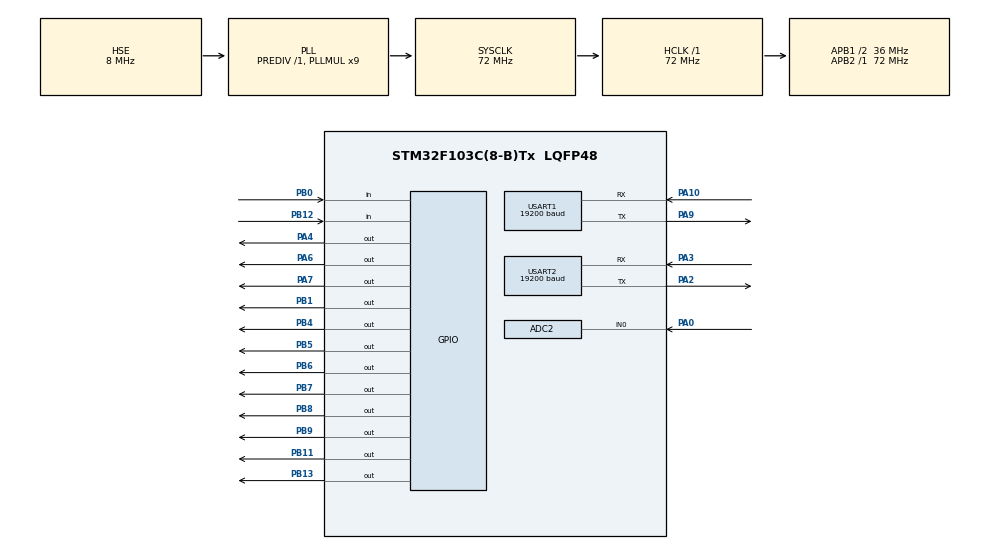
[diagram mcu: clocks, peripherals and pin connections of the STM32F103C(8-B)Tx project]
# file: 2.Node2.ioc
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ADC2.Channel-0\#ChannelRegularConversion=ADC_CHANNEL_0
ADC2.ContinuousConvMode=ENABLE
ADC2.NbrOfConversionFlag=1
ADC2.Rank-0\#ChannelRegularConversion=1
ADC2.SamplingTime-0\#ChannelRegularConversion=ADC_SAMPLETIME_71CYCLES_5
Dma.Request0=USART1_TX
Dma.Request1=USART2_TX
Dma.Request2=USART2_RX
Dma.Request3=USART1_RX
Dma.USART1_RX.3.Direction=DMA_PERIPH_TO_MEMORY
Dma.USART1_RX.3.Instance=DMA1_Channel5
Dma.USART1_RX.3.MemDataAlignment=DMA_MDATAALIGN_BYTE
Dma.USART1_RX.3.MemInc=DMA_MINC_ENABLE
Dma.USART1_RX.3.Mode=DMA_CIRCULAR
Dma.USART1_RX.3.PeriphDataAlignment=DMA_PDATAALIGN_BYTE
Dma.USART1_RX.3.PeriphInc=DMA_PINC_DISABLE
Dma.USART1_RX.3.Priority=DMA_PRIORITY_LOW
Dma.USART1_TX.0.Direction=DMA_MEMORY_TO_PERIPH
Dma.USART1_TX.0.Instance=DMA1_Channel4
Dma.USART1_TX.0.MemDataAlignment=DMA_MDATAALIGN_BYTE
Dma.USART1_TX.0.MemInc=DMA_MINC_ENABLE
Dma.USART1_TX.0.Mode=DMA_NORMAL
Dma.USART1_TX.0.PeriphDataAlignment=DMA_PDATAALIGN_BYTE
Dma.USART1_TX.0.PeriphInc=DMA_PINC_DISABLE
Dma.USART1_TX.0.Priority=DMA_PRIORITY_LOW
Dma.USART2_RX.2.Direction=DMA_PERIPH_TO_MEMORY
Dma.USART2_RX.2.Instance=DMA1_Channel6
Dma.USART2_RX.2.MemDataAlignment=DMA_MDATAALIGN_BYTE
Dma.USART2_RX.2.MemInc=DMA_MINC_ENABLE
Dma.USART2_RX.2.Mode=DMA_CIRCULAR
Dma.USART2_RX.2.PeriphDataAlignment=DMA_PDATAALIGN_BYTE
Dma.USART2_RX.2.PeriphInc=DMA_PINC_DISABLE
Dma.USART2_RX.2.Priority=DMA_PRIORITY_LOW
Dma.USART2_TX.1.Direction=DMA_MEMORY_TO_PERIPH
Dma.USART2_TX.1.Instance=DMA1_Channel7
Dma.USART2_TX.1.MemDataAlignment=DMA_MDATAALIGN_BYTE
Dma.USART2_TX.1.MemInc=DMA_MINC_ENABLE
Dma.USART2_TX.1.Mode=DMA_NORMAL
Dma.USART2_TX.1.PeriphDataAlignment=DMA_PDATAALIGN_BYTE
Dma.USART2_TX.1.PeriphInc=DMA_PINC_DISABLE
Dma.USART2_TX.1.Priority=DMA_PRIORITY_LOW
IWDG.Prescaler=IWDG_PRESCALER_32
IWDG.Reload=3999
Mcu.Family=STM32F1
Mcu.Name=STM32F103C(8-B)Tx
Mcu.Package=LQFP48
NVIC.DMA1_Channel4_IRQn=true\:0\:0\:false\:false\:true\:false
NVIC.DMA1_Channel5_IRQn=true\:0\:0\:false\:false\:true\:false
NVIC.DMA1_Channel6_IRQn=true\:0\:0\:false\:false\:true\:false
NVIC.DMA1_Channel7_IRQn=true\:0\:0\:false\:false\:true\:false
NVIC.PriorityGroup=NVIC_PRIORITYGROUP_4
NVIC.USART1_IRQn=true\:0\:0\:false\:false\:true\:true
NVIC.USART2_IRQn=true\:0\:0\:false\:false\:true\:true
PA0-WKUP.Signal=ADCx_IN0
PA10.Mode=Asynchronous
PA10.Signal=USART1_RX
PA13.Mode=Serial_Wire
PA13.Signal=SYS_JTMS-SWDIO
PA14.Mode=Serial_Wire
PA14.Signal=SYS_JTCK-SWCLK
PA2.Mode=Asynchronous
PA2.Signal=USART2_TX
PA3.Mode=Asynchronous
PA3.Signal=USART2_RX
PA4.Signal=GPIO_Output
PA6.Signal=GPIO_Output
PA7.Signal=GPIO_Output
PA9.Mode=Asynchronous
PA9.Signal=USART1_TX
PB0.Signal=GPIO_Input
PB1.Signal=GPIO_Output
PB11.Signal=GPIO_Output
PB12.Signal=GPIO_Input
PB13.Signal=GPIO_Output
PB4.Signal=GPIO_Output
PB5.Signal=GPIO_Output
PB6.Signal=GPIO_Output
PB7.Signal=GPIO_Output
PB8.Signal=GPIO_Output
PB9.Signal=GPIO_Output
PD0-OSC_IN.Mode=HSE-External-Oscillator
PD0-OSC_IN.Signal=RCC_OSC_IN
PD1-OSC_OUT.Mode=HSE-External-Oscillator
PD1-OSC_OUT.Signal=RCC_OSC_OUT
ProjectManager.HeapSize=0x2000
ProjectManager.StackSize=0x400
ProjectManager.TargetToolchain=MDK-ARM V5
RCC.ADCPresc=RCC_ADCPCLK2_DIV6
RCC.AHBFreq_Value=72000000
RCC.APB1CLKDivider=RCC_HCLK_DIV2
RCC.APB1Freq_Value=36000000
RCC.APB1TimFreq_Value=72000000
RCC.APB2Freq_Value=72000000
RCC.APB2TimFreq_Value=72000000
RCC.HCLKFreq_Value=72000000
RCC.PLLMUL=RCC_PLL_MUL9
RCC.PLLSourceVirtual=RCC_PLLSOURCE_HSE
RCC.SYSCLKFreq_VALUE=72000000
RCC.SYSCLKSource=RCC_SYSCLKSOURCE_PLLCLK
RCC.USBFreq_Value=72000000
SH.ADCx_IN0.0=ADC1_IN0
SH.ADCx_IN0.1=ADC2_IN0,IN0
USART1.BaudRate=19200
USART1.VirtualMode=VM_ASYNC
USART2.BaudRate=19200
USART2.VirtualMode=VM_ASYNC
VP_IWDG_VS_IWDG.Mode=IWDG_Activate
board=custom

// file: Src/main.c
/* USER CODE BEGIN Header */
/**
  ******************************************************************************
  * @file           : main.c
  * @brief          : Main program body
  ******************************************************************************
  ** This notice applies to any and all portions of this file
  * that are not between comment pairs USER CODE BEGIN and
  * USER CODE END. Other portions of this file, whether
  * inserted by the user or by software development tools
  * are owned by their respective copyright owners.
  *
  * COPYRIGHT(c) 2020 STMicroelectronics
  *
  * Redistribution and use in source and binary forms, with or without modification,
  * are permitted provided that the following conditions are met:
  *   1. Redistributions of source code must retain the above copyright notice,
  *      this list of conditions and the following disclaimer.
  *   2. Redistributions in binary form must reproduce the above copyright notice,
  *      this list of conditions and the following disclaimer in the documentation
  *      and/or other materials provided with the distribution.
  *   3. Neither the name of STMicroelectronics nor the names of its contributors
  *      may be used to endorse or promote products derived from this software
  *      without specific prior written permission.
  *
  * THIS SOFTWARE IS PROVIDED BY THE COPYRIGHT HOLDERS AND CONTRIBUTORS "AS IS"
  * AND ANY EXPRESS OR IMPLIED WARRANTIES, INCLUDING, BUT NOT LIMITED TO, THE
  * IMPLIED WARRANTIES OF MERCHANTABILITY AND FITNESS FOR A PARTICULAR PURPOSE ARE
  * DISCLAIMED. IN NO EVENT SHALL THE COPYRIGHT HOLDER OR CONTRIBUTORS BE LIABLE
  * FOR ANY DIRECT, INDIRECT, INCIDENTAL, SPECIAL, EXEMPLARY, OR CONSEQUENTIAL
  * DAMAGES (INCLUDING, BUT NOT LIMITED TO, PROCUREMENT OF SUBSTITUTE GOODS OR
  * SERVICES; LOSS OF USE, DATA, OR PROFITS; OR BUSINESS INTERRUPTION) HOWEVER
  * CAUSED AND ON ANY THEORY OF LIABILITY, WHETHER IN CONTRACT, STRICT LIABILITY,
  * OR TORT (INCLUDING NEGLIGENCE OR OTHERWISE) ARISING IN ANY WAY OUT OF THE USE
  * OF THIS SOFTWARE, EVEN IF ADVISED OF THE POSSIBILITY OF SUCH DAMAGE.
  *
  ******************************************************************************
  */
/* USER CODE END Header */

#include "main.h"

/* USER CODE BEGIN Includes */
#include "STM_MY_LCD16X2.h"
#include "app.h"
#include "lora.h"
#include "sim.h"
#include "dwt_stm32_delay.h"
/* USER CODE END Includes */

/* USER CODE BEGIN PTD */
#define delay_us	DWT_Delay_us
/* USER CODE END PTD */

ADC_HandleTypeDef hadc2;

IWDG_HandleTypeDef hiwdg;

UART_HandleTypeDef huart1;
UART_HandleTypeDef huart2;
DMA_HandleTypeDef hdma_usart1_tx;
DMA_HandleTypeDef hdma_usart1_rx;
DMA_HandleTypeDef hdma_usart2_tx;
DMA_HandleTypeDef hdma_usart2_rx;

void SystemClock_Config(void);
static void MX_GPIO_Init(void);
static void MX_DMA_Init(void);
static void MX_IWDG_Init(void);
static void MX_USART1_UART_Init(void);
static void MX_USART2_UART_Init(void);
static void MX_ADC2_Init(void);
/* USER CODE BEGIN PFP */

void ph_measure_process(void);
void distance_measure_process(void);
void LoraReceiveDMA(void);
void SIMReceiveDMA(void);

/* USER CODE END PFP */

/* USER CODE BEGIN 0 */
uint8_t LcdState = 0;
uint8_t LcdbtnOldState = 0;
void LcdHandler(void)
{
	char CrLcdBtnState = Lcd_button();

	if ((LcdbtnOldState == 0) &&( CrLcdBtnState == 1))	// Press event
	{
		if (LcdState == 0)
		{
			Lcd1602_ON();
			LcdState = 1;
		}
		else
		{
			Lcd1602_OFF();
			LcdState = 0;
		}
	}

	LcdbtnOldState = CrLcdBtnState;
}
//

uint16_t Distance = 0;
float PHValue = 0;
uint16_t ID = 2;
uint32_t LoraSendDataTime = 0, LCDTimeUpdate = 0;
uint32_t TimeNotifyLoraLoss1 = 0;
uint32_t TimeNotifyLoraLoss2 = 0;
bool isNotifyLoraNoConnect = false;

bool SensorValueChanged = true;

bool FlagN1PumpOnViaSMS = false;	// Flag require Node1 On PUMP via SMS
bool FlagN1PumpOffViaSMS = false;	// Flag require Node1 Off PUMP via SMS

bool FlagUpdateDataViaSMS	= false;

bool GWPumpNeedOn = false;				// Flag require Gateway On/Off pump via Lora signal
bool Node1PumpNeedOn = false;			// Flag require Node1 On/Off pump via Lora signal

bool FlagWarningPHValueToUser = false;

/* USER CODE END 0 */

int main(void)
{

  /* MCU Configuration--------------------------------------------------------*/

  /* Reset of all peripherals, Initializes the Flash interface and the Systick. */
  HAL_Init();

  /* Configure the system clock */
  SystemClock_Config();

  /* Initialize all configured peripherals */
  MX_GPIO_Init();
  MX_DMA_Init();
  MX_IWDG_Init();
  MX_USART1_UART_Init();
  MX_USART2_UART_Init();
  MX_ADC2_Init();
  /* USER CODE BEGIN 2 */
	OFF_4V();
	if (DWT_Delay_Init() != 0) Error_Handler();

	Lcd1602_ON();
	LCD1602_Begin4BIT(RS_GPORT, RS_GPIN, EN_GPIN, D4_GPORT, D4_GPIN, D5_GPIN, D6_GPIN, D7_GPIN);
	LCD1602_noBlink();
	LCD1602_noCursor();
	LCD1602_1stLine();
	LCD1602_print("Node 2");

	HAL_ADC_Start(&hadc2);
	Lora_Mode0();

	#if USING_LORA_RECEIVE_DMA > 0
	LoraReceiveDMA();
	#endif

	#if USING_SIM_RECEIVE_DMA > 0
	SIMReceiveDMA();
	#endif

	HAL_Delay(200);
	sim_async_init();
	TimeNotifyLoraLoss1 = HAL_GetTick();
  /* USER CODE END 2 */

  /* Infinite loop */
  while (1)
  {

    /* USER CODE BEGIN 3 */

		/*----------- Measurement distance-------------*/
		distance_measure_process();
		//

		/*-------------- Measure PH value --------------*/
		ph_measure_process();

		/*---------------- Lora receive message -----------*/
		lora_receive_process();

		/*-------------------  SIM process --------------*/
		sim_process();

		/*-------------------  Gửi tin nhắn báo mất kết nối lora --------------*/
		if (((HAL_GetTick() - TimeNotifyLoraLoss1 >= 30000)&&(TimeNotifyLoraLoss1 != 0))
			||((HAL_GetTick()  - TimeNotifyLoraLoss2 >= 5000)&&(TimeNotifyLoraLoss1 == 0)))
		{
			if (lora_is_connected() == false)
			{
				if (isNotifyLoraNoConnect == false)	// Nếu chưa thông báo cho User biết đã mất kết nối Lora
				{
					if (sim_is_init_ok() && (sim_is_sendingMsg() == false))
					{
						char abc[100];
						sprintf(abc, "ID: %03d canh bao: mat ket noi lora", ID);
						sim_async_sendmsg(USER_PNB, abc);	// Thông báo
						isNotifyLoraNoConnect = true;
					}
				}
			}
			TimeNotifyLoraLoss1 = 0;
			TimeNotifyLoraLoss2 = HAL_GetTick();
		}

		/*---------print sensor value to LCD1602----------*/
		if (sim_is_initializing() == false)
		{
			if (HAL_GetTick() - LCDTimeUpdate >= 500)
			{
				if (SensorValueChanged)
				{
					LCD1602_2ndLine();
					char as[17];
					if (Distance == 9999)
					sprintf(as, "D: ?     PH:%3f",  PHValue);
					else
					if (Distance > 200)
					sprintf(as, "D:>200   PH:%3f",  PHValue);
					else
					sprintf(as, "D:%4d   PH:%3f", Distance, PHValue);

					LCD1602_print(as);

					sprintf(as, "ID:%03d  S:%d  L:%d", ID,sim_is_init_ok(), lora_is_connected());
					LCD1602_1stLine();
					LCD1602_print(as);
				}
				LCDTimeUpdate = HAL_GetTick();
			}
		} else LCDTimeUpdate = HAL_GetTick();

				/*---------print sensor value to Server----------*/
		if (HAL_GetTick()   - LoraSendDataTime >= 3550)
		{
			char as[50];

			sprintf(as,"#ID%03dDPD%04dP%03dPP%d%d!",ID, Distance, (int)(PHValue *10), GWPumpNeedOn, Node1PumpNeedOn);
			lora_send_data((uint8_t*)as, strlen(as));

			if (FlagWarningPHValueToUser)
			{
				if (sim_is_init_ok() &&(sim_is_sendingMsg() == false))
				{
					char ac[120];
					sprintf(ac,"ID%03d canh bao: do PH < 6.5", ID);	// Gửi tin nhắn cảnh báo độ PH thấp cho User
					sim_async_sendmsg(USER_PNB, ac);
					FlagWarningPHValueToUser = false;
				}
			}

			if (lora_is_connected() == false)
			{
				if (sim_is_init_ok() &&(sim_is_sendingMsg() == false))
				{
					if (FlagN1PumpOffViaSMS )
					{
						sim_async_sendmsg(N1_PHONENUMBER, "PUMP_OFF");	// Gửi tin nhắn Tắt bơm cho Node1
						FlagN1PumpOffViaSMS = false;
					}
					if (FlagN1PumpOnViaSMS )
					{
						sim_async_sendmsg(N1_PHONENUMBER, "PUMP_ON");		// Gửi tin nhắn bật bơm cho Node1
						FlagN1PumpOnViaSMS = false;
					}

					if (FlagUpdateDataViaSMS)
					{
						sim_async_sendmsg(GW_PHONENUMBER,as);						// Gửi tin nhắn cho Gateway trạng thái hiện tại, để Gateway biết bật hay tắt bơm
						FlagUpdateDataViaSMS = false;
					}
				}
			}

			LoraSendDataTime = HAL_GetTick();

			SensorValueChanged = false;
		}

		LcdHandler();
		HAL_IWDG_Refresh(&hiwdg);
  }
  /* USER CODE END 3 */
}

void SystemClock_Config(void)
{
  RCC_OscInitTypeDef RCC_OscInitStruct = {0};
  RCC_ClkInitTypeDef RCC_ClkInitStruct = {0};
  RCC_PeriphCLKInitTypeDef PeriphClkInit = {0};

  /**Initializes the CPU, AHB and APB busses clocks
  */
  RCC_OscInitStruct.OscillatorType = RCC_OSCILLATORTYPE_LSI|RCC_OSCILLATORTYPE_HSE;
  RCC_OscInitStruct.HSEState = RCC_HSE_ON;
  RCC_OscInitStruct.HSEPredivValue = RCC_HSE_PREDIV_DIV1;
  RCC_OscInitStruct.HSIState = RCC_HSI_ON;
  RCC_OscInitStruct.LSIState = RCC_LSI_ON;
  RCC_OscInitStruct.PLL.PLLState = RCC_PLL_ON;
  RCC_OscInitStruct.PLL.PLLSource = RCC_PLLSOURCE_HSE;
  RCC_OscInitStruct.PLL.PLLMUL = RCC_PLL_MUL9;
  if (HAL_RCC_OscConfig(&RCC_OscInitStruct) != HAL_OK)
  {
    Error_Handler();
  }
  /**Initializes the CPU, AHB and APB busses clocks
  */
  RCC_ClkInitStruct.ClockType = RCC_CLOCKTYPE_HCLK|RCC_CLOCKTYPE_SYSCLK
                              |RCC_CLOCKTYPE_PCLK1|RCC_CLOCKTYPE_PCLK2;
  RCC_ClkInitStruct.SYSCLKSource = RCC_SYSCLKSOURCE_PLLCLK;
  RCC_ClkInitStruct.AHBCLKDivider = RCC_SYSCLK_DIV1;
  RCC_ClkInitStruct.APB1CLKDivider = RCC_HCLK_DIV2;
  RCC_ClkInitStruct.APB2CLKDivider = RCC_HCLK_DIV1;

  if (HAL_RCC_ClockConfig(&RCC_ClkInitStruct, FLASH_LATENCY_2) != HAL_OK)
  {
    Error_Handler();
  }
  PeriphClkInit.PeriphClockSelection = RCC_PERIPHCLK_ADC;
  PeriphClkInit.AdcClockSelection = RCC_ADCPCLK2_DIV6;
  if (HAL_RCCEx_PeriphCLKConfig(&PeriphClkInit) != HAL_OK)
  {
    Error_Handler();
  }
}

static void MX_ADC2_Init(void)
{

  ADC_ChannelConfTypeDef sConfig = {0};

  /**Common config
  */
  hadc2.Instance = ADC2;
  hadc2.Init.ScanConvMode = ADC_SCAN_DISABLE;
  hadc2.Init.ContinuousConvMode = ENABLE;
  hadc2.Init.DiscontinuousConvMode = DISABLE;
  hadc2.Init.ExternalTrigConv = ADC_SOFTWARE_START;
  hadc2.Init.DataAlign = ADC_DATAALIGN_RIGHT;
  hadc2.Init.NbrOfConversion = 1;
  if (HAL_ADC_Init(&hadc2) != HAL_OK)
  {
    Error_Handler();
  }
  /**Configure Regular Channel
  */
  sConfig.Channel = ADC_CHANNEL_0;
  sConfig.Rank = ADC_REGULAR_RANK_1;
  sConfig.SamplingTime = ADC_SAMPLETIME_71CYCLES_5;
  if (HAL_ADC_ConfigChannel(&hadc2, &sConfig) != HAL_OK)
  {
    Error_Handler();
  }

}

static void MX_IWDG_Init(void)
{

  hiwdg.Instance = IWDG;
  hiwdg.Init.Prescaler = IWDG_PRESCALER_32;
  hiwdg.Init.Reload = 3999;
  if (HAL_IWDG_Init(&hiwdg) != HAL_OK)
  {
    Error_Handler();
  }

}

static void MX_USART1_UART_Init(void)
{

  huart1.Instance = USART1;
  huart1.Init.BaudRate = 19200;
  huart1.Init.WordLength = UART_WORDLENGTH_8B;
  huart1.Init.StopBits = UART_STOPBITS_1;
  huart1.Init.Parity = UART_PARITY_NONE;
  huart1.Init.Mode = UART_MODE_TX_RX;
  huart1.Init.HwFlowCtl = UART_HWCONTROL_NONE;
  huart1.Init.OverSampling = UART_OVERSAMPLING_16;
  if (HAL_UART_Init(&huart1) != HAL_OK)
  {
    Error_Handler();
  }
  /* USER CODE BEGIN USART1_Init 2 */
	#if USING_LORA_RECEIVE_IT > 0
	__HAL_UART_ENABLE_IT(&huart1, UART_IT_RXNE);
	#endif
  /* USER CODE END USART1_Init 2 */

}

static void MX_USART2_UART_Init(void)
{

  huart2.Instance = USART2;
  huart2.Init.BaudRate = 19200;
  huart2.Init.WordLength = UART_WORDLENGTH_8B;
  huart2.Init.StopBits = UART_STOPBITS_1;
  huart2.Init.Parity = UART_PARITY_NONE;
  huart2.Init.Mode = UART_MODE_TX_RX;
  huart2.Init.HwFlowCtl = UART_HWCONTROL_NONE;
  huart2.Init.OverSampling = UART_OVERSAMPLING_16;
  if (HAL_UART_Init(&huart2) != HAL_OK)
  {
    Error_Handler();
  }
  /* USER CODE BEGIN USART2_Init 2 */
	#if USING_SIM_RECEIVE_IT > 0
	__HAL_UART_ENABLE_IT(&huart2, UART_IT_RXNE);
	#endif
  /* USER CODE END USART2_Init 2 */

}

static void MX_DMA_Init(void)
{
  /* DMA controller clock enable */
  __HAL_RCC_DMA1_CLK_ENABLE();

  /* DMA interrupt init */
  /* DMA1_Channel4_IRQn interrupt configuration */
  HAL_NVIC_SetPriority(DMA1_Channel4_IRQn, 0, 0);
  HAL_NVIC_EnableIRQ(DMA1_Channel4_IRQn);
  /* DMA1_Channel5_IRQn interrupt configuration */
  HAL_NVIC_SetPriority(DMA1_Channel5_IRQn, 0, 0);
  HAL_NVIC_EnableIRQ(DMA1_Channel5_IRQn);
  /* DMA1_Channel6_IRQn interrupt configuration */
  HAL_NVIC_SetPriority(DMA1_Channel6_IRQn, 0, 0);
  HAL_NVIC_EnableIRQ(DMA1_Channel6_IRQn);
  /* DMA1_Channel7_IRQn interrupt configuration */
  HAL_NVIC_SetPriority(DMA1_Channel7_IRQn, 0, 0);
  HAL_NVIC_EnableIRQ(DMA1_Channel7_IRQn);

}

static void MX_GPIO_Init(void)
{
  GPIO_InitTypeDef GPIO_InitStruct = {0};

  /* GPIO Ports Clock Enable */
  __HAL_RCC_GPIOD_CLK_ENABLE();
  __HAL_RCC_GPIOA_CLK_ENABLE();
  __HAL_RCC_GPIOB_CLK_ENABLE();

  /*Configure GPIO pin Output Level */
  HAL_GPIO_WritePin(GPIOA, GPIO_PIN_4|GPIO_PIN_6|GPIO_PIN_7, GPIO_PIN_RESET);

  /*Configure GPIO pin Output Level */
  HAL_GPIO_WritePin(GPIOB, GPIO_PIN_1|GPIO_PIN_11|GPIO_PIN_13|GPIO_PIN_4
                          |GPIO_PIN_5|GPIO_PIN_6|GPIO_PIN_7|GPIO_PIN_8
                          |GPIO_PIN_9, GPIO_PIN_RESET);

  /*Configure GPIO pin : PA0 */
  GPIO_InitStruct.Pin = GPIO_PIN_0;
  GPIO_InitStruct.Mode = GPIO_MODE_ANALOG;
  HAL_GPIO_Init(GPIOA, &GPIO_InitStruct);

  /*Configure GPIO pins : PA4 PA6 PA7 */
  GPIO_InitStruct.Pin = GPIO_PIN_4|GPIO_PIN_6|GPIO_PIN_7;
  GPIO_InitStruct.Mode = GPIO_MODE_OUTPUT_PP;
  GPIO_InitStruct.Pull = GPIO_NOPULL;
  GPIO_InitStruct.Speed = GPIO_SPEED_FREQ_LOW;
  HAL_GPIO_Init(GPIOA, &GPIO_InitStruct);

  /*Configure GPIO pins : PB0 PB12 */
  GPIO_InitStruct.Pin = GPIO_PIN_0|GPIO_PIN_12;
  GPIO_InitStruct.Mode = GPIO_MODE_INPUT;
  GPIO_InitStruct.Pull = GPIO_NOPULL;
  HAL_GPIO_Init(GPIOB, &GPIO_InitStruct);

  /*Configure GPIO pins : PB1 PB11 PB13 PB4
                           PB5 PB6 PB7 PB8
                           PB9 */
  GPIO_InitStruct.Pin = GPIO_PIN_1|GPIO_PIN_11|GPIO_PIN_13|GPIO_PIN_4
                          |GPIO_PIN_5|GPIO_PIN_6|GPIO_PIN_7|GPIO_PIN_8
                          |GPIO_PIN_9;
  GPIO_InitStruct.Mode = GPIO_MODE_OUTPUT_PP;
  GPIO_InitStruct.Pull = GPIO_NOPULL;
  GPIO_InitStruct.Speed = GPIO_SPEED_FREQ_LOW;
  HAL_GPIO_Init(GPIOB, &GPIO_InitStruct);

}

void Error_Handler(void)
{
  /* USER CODE BEGIN Error_Handler_Debug */
  /* User can add his own implementation to report the HAL error return state */

	while(1);
  /* USER CODE END Error_Handler_Debug */
}

/************************ (C) COPYRIGHT STMicroelectronics *****END OF FILE****/
